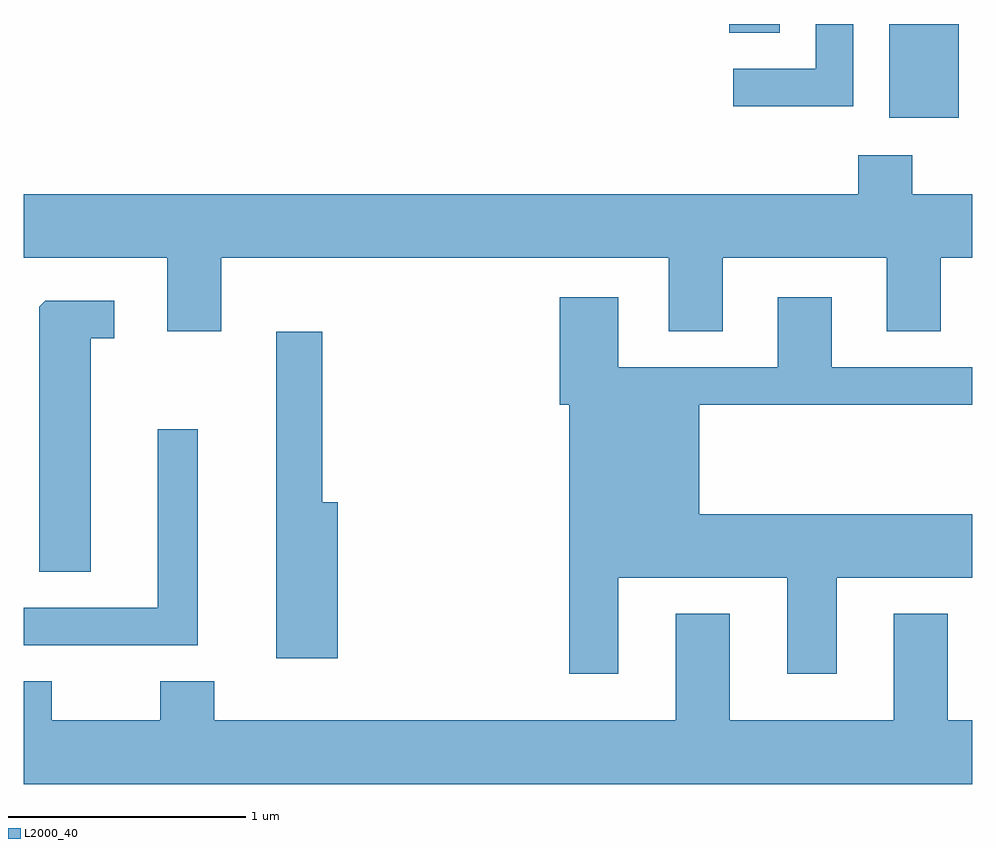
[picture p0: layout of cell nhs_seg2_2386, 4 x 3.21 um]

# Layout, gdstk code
import gdstk
lib = gdstk.Library(unit=1e-6, precision=1e-09)
def R(c, l, rs):  # rectangles x0, y0, x1, y1
    for r in rs: c.add(gdstk.rectangle(r[:2], r[2:], *l))
def P(c, l, *ps):  # polygons
    for p in ps: c.add(gdstk.Polygon(p, *l))
L2000_40 = (2000, 40)

nhs_seg2_2386 = lib.new_cell('nhs_seg2_2386')
R(nhs_seg2_2386, L2000_40, [(259.261,993.406,259.554,993.802), (258.586,993.766,258.799,993.802)])
P(nhs_seg2_2386, L2000_40, [(259.109,993.802),(258.951,993.802),(258.951,993.614),(258.603,993.614),(258.603,993.456),(259.109,993.456)],
  [(256.444,992.816),(258.331,992.816),(258.331,992.506),(258.559,992.506),(258.559,992.816),(259.251,992.816),(259.251,992.506),(259.479,992.506),(259.479,992.816),(259.611,992.816),(259.611,993.084),(259.359,993.084),(259.359,993.249),(259.131,993.249),(259.131,993.084),(255.611,993.084),(255.611,992.816),(256.216,992.816),(256.216,992.506),(256.444,992.506)],
  [(258.119,991.466),(258.831,991.466),(258.831,991.061),(259.039,991.061),(259.039,991.466),(259.611,991.466),(259.611,991.734),(258.459,991.734),(258.459,992.196),(259.611,992.196),(259.611,992.354),(259.019,992.354),(259.019,992.649),(258.791,992.649),(258.791,992.354),(258.119,992.354),(258.119,992.649),(257.871,992.649),(257.871,992.196),(257.911,992.196),(257.911,991.061),(258.119,991.061)],
  [(255.894,992.476),(255.993,992.476),(255.993,992.634),(255.702,992.634),(255.676,992.609),(255.676,991.491),(255.894,991.491)],
  [(256.934,991.784),(256.869,991.784),(256.869,992.504),(256.676,992.504),(256.676,991.126),(256.934,991.126)],
  [(256.344,992.093),(256.176,992.093),(256.176,991.339),(255.611,991.339),(255.611,991.181),(256.344,991.181)],
  [(259.611,990.864),(259.509,990.864),(259.509,991.314),(259.281,991.314),(259.281,990.864),(258.589,990.864),(258.589,991.314),(258.361,991.314),(258.361,990.864),(256.414,990.864),(256.414,991.029),(256.186,991.029),(256.186,990.864),(255.729,990.864),(255.729,991.029),(255.611,991.029),(255.611,990.596),(259.611,990.596)])

lib.write_gds('nhs_seg2_2386.gds')
